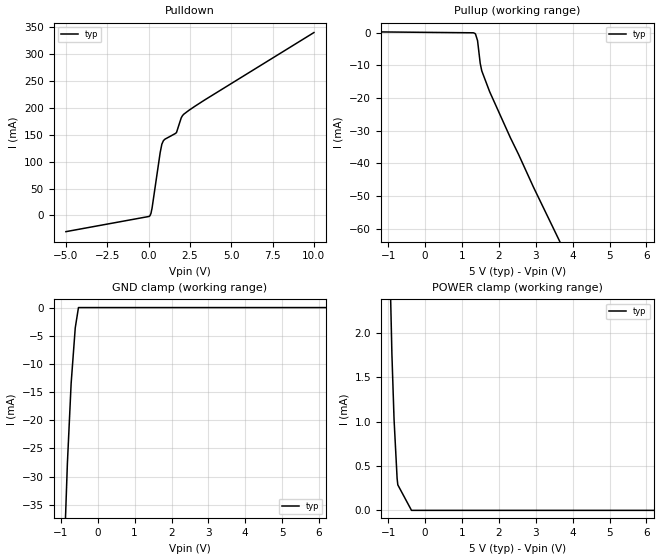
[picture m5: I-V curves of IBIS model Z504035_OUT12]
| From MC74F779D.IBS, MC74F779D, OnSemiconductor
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| (C) COPYRIGHT 1993-2000
| MENTOR GRAPHICS CORPORATION
| ICX STANDARD LIBRARY, ICX PROJECT MODELING,
| ICX CUSTOM MODELING, ICX VENDOR MODEL
| ALL RIGHTS RESERVED.
| THE FOLLOWING ARE TRADEMARKS OR SERVICE MARKS OF
| MENTOR GRAPHICS CORPORATION:ICX (R), ICX STANDARD
| LIBRARY(R), ICX PROJECT MODELING(R), ICX CUSTOM
| MODELING(R), qualityIBIS(TM), MODELVIEWER(TM),
| AND MODELEDITOR(TM)
| ALL COPIES OF SOFTWARE, INCLUDING BUT NOT LIMITED TO
| ANY MODIFICATIONS, ENHANCEMENTS OR DERIVATIVE WORKS,
| MUST CONTAIN ALL MENTOR GRAPHICS CORPORATION'S
| NOTICES AND LEGENDS, INCLUDING THOSE EMBEDDED IN
| SOFTWARE AND THOSE AFFIXED TO SOFTWARE MEDIUM
| AND CONTAINER, AS RECEIVED FROM MENTOR GRAPHICS
| CORPORATION.
| Model Application Version 1.89 2/18/99.
[Model] Z504035_OUT12
Model_type Output
Vref=2.500V
Rref=500.0Mohms
Cref=50.00pF
Vmeas=1.600V
C_comp 8.000pF NA NA
| variable typ   min   max
[Voltage Range] 5.000V NA NA
[POWER Clamp Reference] 5.000V NA NA
[Pullup Reference] 5.000V NA NA
[Pulldown Reference] 0.000V NA NA
[GND Clamp Reference] 0.000V NA NA
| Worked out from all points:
|   slope of the pulldown table from 0 to 0.75 V, typ, clamps not added: 5.94 ohm
|   slope of the pullup table from 0 to 0.75 V, typ, clamps not added: 9.48 kohm
|   GND clamp passes 1 mA (typ) near -0.55 V on its own axis
|   POWER clamp passes 1 mA (typ) near -0.84 V on its own axis
[GND Clamp]
-5V       -814.1mA   NA         NA
-824.2mV  -27.69mA   NA         NA
-722.3mV  -13.46mA   NA         NA
-610.7mV  -3.597mA   NA         NA
-523.5mV  0A         NA         NA
10V       0A         NA         NA
[Pulldown]
-5V       -30.05mA   NA         NA
43.11mV   -1.623mA   NA         NA
141.3mV   3.653mA    NA         NA
208.3mV   13.37mA    NA         NA
700mV     116.6mA    NA         NA
800.7mV   132.2mA    NA         NA
992mV     141.6mA    NA         NA
1.685V    153.7mA    NA         NA
1.974V    181.2mA    NA         NA
2.054V    185.4mA    NA         NA
3.366V    213.8mA    NA         NA
10V       339.4mA    NA         NA
[Pullup]
-5V       623.4uA    NA         NA
1.307V    -41.63uA   NA         NA
1.346V    -217.1uA   NA         NA
1.366V    -449uA     NA         NA
1.421V    -2.443mA   NA         NA
1.493V    -9.388mA   NA         NA
1.535V    -11.68mA   NA         NA
1.749V    -18.06mA   NA         NA
2.311V    -32.12mA   NA         NA
2.532V    -37.21mA   NA         NA
2.938V    -47.26mA   NA         NA
10V       -211.8mA   NA         NA
[POWER Clamp]
-5V       123.6mA    NA         NA
-1.237V   9.022mA    NA         NA
-1.06V    4.633mA    NA         NA
-902mV    1.759mA    NA         NA
-844mV    1.025mA    NA         NA
-761mV    358.9uA    NA         NA
-742mV    287.4uA    NA         NA
-371mV    0A         NA         NA
10V       0A         NA         NA
[Ramp]
| variable typ min max
dV/dt_r 2.067/1.873n NA NA
dV/dt_f 2.067/1.924n NA NA
R_load = 500.0Ohms
